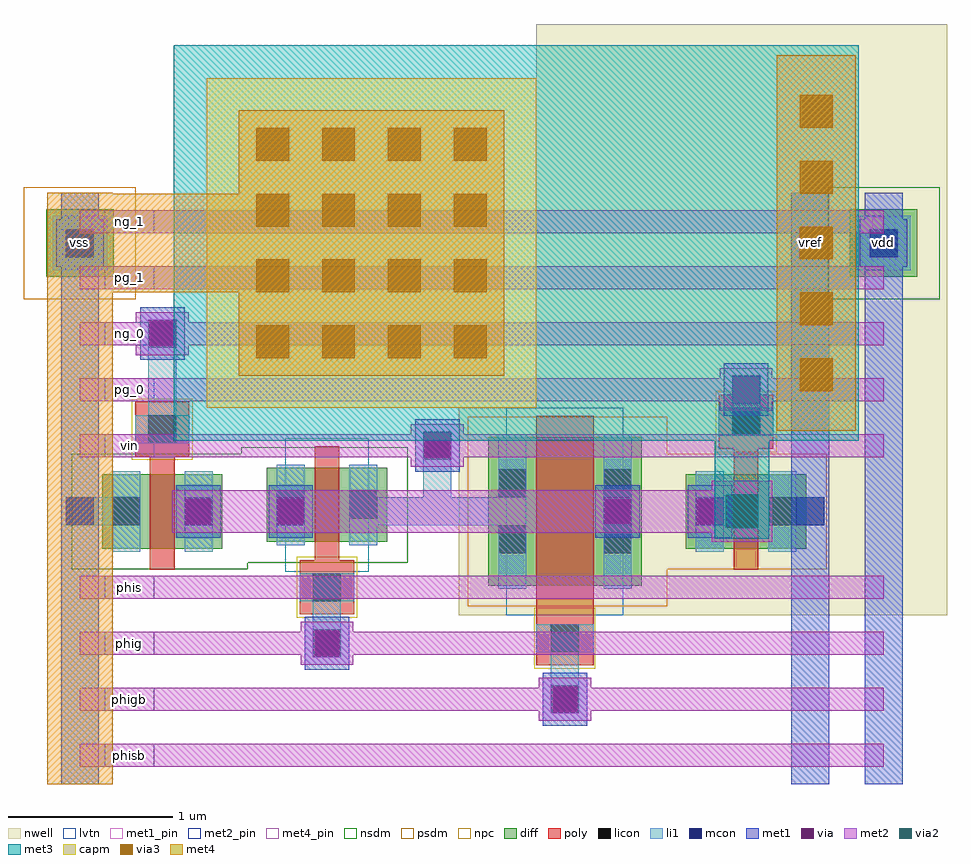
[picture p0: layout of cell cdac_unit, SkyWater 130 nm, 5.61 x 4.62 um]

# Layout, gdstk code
import gdstk
lib = gdstk.Library(unit=1e-6, precision=5e-09)
def R(c, l, rs):  # rectangles x0, y0, x1, y1
    for r in rs: c.add(gdstk.rectangle(r[:2], r[2:], *l))
def A(c, l, x, y, w, h, nx, ny, dx, dy):  # array of equal rectangles
    R(c, l, [(x+i*dx, y+j*dy, x+i*dx+w, y+j*dy+h) for i in range(nx) for j in range(ny)])
nwell = (64, 20)
diff = (65, 20)
poly = (66, 20)
licon = (66, 44)
li1 = (67, 20)
mcon = (67, 44)
met1_pin = (68, 16)
met1 = (68, 20)
via = (68, 44)
met2_pin = (69, 16)
met2 = (69, 20)
via2 = (69, 44)
met3 = (70, 20)
via3 = (70, 44)
met4_pin = (71, 16)
met4 = (71, 20)
capm = (89, 44)
nsdm = (93, 44)
psdm = (94, 20)
npc = (95, 20)
lvtn = (125, 44)

cdac_unit = lib.new_cell('cdac_unit')
R(cdac_unit, nwell, [(2.3,1.025,5.265,2.285), (2.77,1.025,5.265,4.615)])
R(cdac_unit, diff, [(2.48,1.205,3.41,2.105), (0.135,1.43,0.865,1.88), (3.68,1.43,4.41,1.88), (1.135,1.47,1.865,1.92), (-0.205,3.08,0.205,3.49), (4.675,3.08,5.085,3.49)])
R(cdac_unit, poly, [(2.77,0.72,3.12,2.235), (1.335,1.03,1.665,1.36), (0.425,1.3,0.575,1.99), (3.97,1.3,4.12,2.035), (1.425,1.36,1.575,2.05), (0.335,1.99,0.665,2.32), (3.88,2.035,4.21,2.365)])
R(cdac_unit, licon, [(2.86,0.8,3.03,0.97), (1.415,1.11,1.585,1.28), (2.54,1.4,2.71,1.57), (3.18,1.4,3.35,1.57), (0.195,1.57,0.365,1.74), (0.635,1.57,0.805,1.74), (3.74,1.57,3.91,1.74), (4.18,1.57,4.35,1.74), (1.195,1.61,1.365,1.78), (1.635,1.61,1.805,1.78), (2.54,1.74,2.71,1.91), (3.18,1.74,3.35,1.91), (0.415,2.07,0.585,2.24), (3.96,2.115,4.13,2.285), (-0.085,3.2,0.085,3.37), (4.795,3.2,4.965,3.37)])
R(cdac_unit, li1, [(2.86,0.43,3.03,0.97), (1.415,0.77,1.585,1.28), (2.77,0.8,3.12,0.97), (1.335,1.11,1.665,1.28), (2.54,1.185,2.71,2.125), (3.18,1.185,3.35,2.125), (0.195,1.41,0.365,1.9), (0.635,1.41,0.805,1.9), (3.74,1.41,3.91,1.9), (4.18,1.41,4.35,1.9), (1.195,1.45,1.365,1.94), (1.635,1.45,1.805,1.94), (-0.085,1.57,0.28,1.74), (1.72,1.57,2.625,1.74), (4.265,1.57,4.52,1.74), (2.085,1.655,2.255,2.14), (0.335,2.07,0.665,2.24), (0.415,2.07,0.585,2.82), (3.88,2.115,4.21,2.285), (3.96,2.115,4.13,2.48), (-0.165,3.12,0.165,3.45), (4.715,3.12,5.045,3.45)])
R(cdac_unit, mcon, [(2.86,0.43,3.03,0.6), (1.415,0.77,1.585,0.94), (-0.085,1.57,0.085,1.74), (0.635,1.57,0.805,1.74), (1.195,1.57,1.365,1.74), (3.18,1.57,3.35,1.74), (3.74,1.57,3.91,1.74), (4.35,1.57,4.52,1.74), (2.085,1.97,2.255,2.14), (3.96,2.31,4.13,2.48), (0.415,2.65,0.585,2.82), (-0.085,3.2,0.085,3.37), (4.795,3.2,4.965,3.37)])
R(cdac_unit, met1_pin, [(-0.07,3.14,0.07,3.44), (4.365,3.14,4.505,3.44), (4.81,3.14,4.95,3.44)])
R(cdac_unit, met1, [(-0.115,0,0.115,3.59), (4.32,0,4.55,3.59), (4.765,0,4.995,3.59), (2.81,0.355,3.08,0.675), (1.365,0.695,1.635,1.015), (0.585,1.495,0.855,1.815), (1.145,1.495,1.415,1.815), (3.13,1.495,3.4,1.815), (3.69,1.495,3.96,1.815), (-0.115,1.515,0.115,1.795), (4.32,1.515,4.55,1.795), (2.035,1.895,2.305,2.215), (3.91,2.235,4.18,2.555), (0.365,2.575,0.635,2.895), (-0.145,3.14,0.145,3.43), (4.735,3.14,5.025,3.43)])
R(cdac_unit, via, [(2.87,0.44,3.02,0.59), (1.425,0.78,1.575,0.93), (0.645,1.58,0.795,1.73), (1.205,1.58,1.355,1.73), (3.19,1.58,3.34,1.73), (3.75,1.58,3.9,1.73), (2.095,1.98,2.245,2.13), (3.97,2.32,4.12,2.47), (0.425,2.66,0.575,2.81)])
A(cdac_unit, met2_pin, 0.15, 0.105, 0.3, 0.14, 1, 4, 0, 0.34)
A(cdac_unit, met2_pin, 0.15, 1.985, 0.3, 0.14, 1, 5, 0, 0.34)
A(cdac_unit, met2, 0, 0.105, 4.88, 0.14, 1, 4, 0, 0.34)
A(cdac_unit, met2, 0, 1.985, 4.88, 0.14, 1, 5, 0, 0.34)
R(cdac_unit, met2, [(2.785,0.385,3.105,0.645), (1.34,0.725,1.66,0.985), (3.835,1.47,4.205,1.84), (0.56,1.525,0.88,1.785), (0.56,1.525,4.205,1.785), (1.12,1.525,1.44,1.785), (3.105,1.525,3.425,1.785), (3.665,1.525,3.985,1.785), (2.01,1.925,2.33,2.185), (3.885,2.265,4.205,2.525), (0.34,2.605,0.66,2.865)])
R(cdac_unit, via2, [(3.92,1.555,4.12,1.755)])
R(cdac_unit, met3, [(3.855,1.49,4.185,2.285), (0.57,2.085,4.73,4.485)])
A(cdac_unit, via3, 4.37, 2.385, 0.2, 0.2, 1, 5, 0, 0.4)
A(cdac_unit, via3, 1.07, 2.585, 0.2, 0.2, 4, 4, 0.4, 0.4)
R(cdac_unit, met4_pin, [(-0.15,3.21,0.15,3.37)])
R(cdac_unit, met4, [(-0.2,0,0.2,3.59), (4.23,2.145,4.71,4.425), (0.965,2.48,2.575,4.09), (0,2.985,1.165,3.585)])
R(cdac_unit, capm, [(0.77,2.285,2.77,4.285)])
R(cdac_unit, nsdm, [(-0.05,1.305,0.02,2.005), (0.01,1.305,0.99,2.005), (0.98,1.305,1.02,2.045), (1.01,1.345,1.99,2.045), (4.54,2.945,5.22,3.625)])
R(cdac_unit, psdm, [(2.355,1.08,3.535,2.23), (3.525,1.08,3.565,2.23), (3.555,1.305,4.535,2.005), (-0.34,2.945,0.34,3.625)])
R(cdac_unit, npc, [(2.76,0.7,3.13,1.07), (1.315,1.01,1.685,1.38), (0.315,1.97,0.685,2.34), (3.86,2.015,4.23,2.385)])
R(cdac_unit, lvtn, [(2.59,1.025,3.3,2.285), (1.245,1.29,1.755,2.1)])
cdac_unit.add(gdstk.Label('phisb', (0.3,0.175), layer=69, texttype=5))
cdac_unit.add(gdstk.Label('phigb', (0.3,0.515), layer=69, texttype=5))
cdac_unit.add(gdstk.Label('phig', (0.3,0.855), layer=69, texttype=5))
cdac_unit.add(gdstk.Label('phis', (0.3,1.195), layer=69, texttype=5))
cdac_unit.add(gdstk.Label('pg_0', (0.3,2.395), layer=69, texttype=5))
cdac_unit.add(gdstk.Label('ng_0', (0.3,2.735), layer=69, texttype=5))
cdac_unit.add(gdstk.Label('pg_1', (0.3,3.075), layer=69, texttype=5))
cdac_unit.add(gdstk.Label('ng_1', (0.3,3.415), layer=69, texttype=5))
cdac_unit.add(gdstk.Label('vin', (0.3,2.055), layer=69, texttype=5))
cdac_unit.add(gdstk.Label('vss', (0,3.29), layer=68, texttype=5))
cdac_unit.add(gdstk.Label('vref', (4.435,3.29), layer=68, texttype=5))
cdac_unit.add(gdstk.Label('vdd', (4.88,3.29), layer=68, texttype=5))
cdac_unit.add(gdstk.Label('top', (0,3.29), layer=71, texttype=5))

lib.write_gds('cdac_unit.gds')
